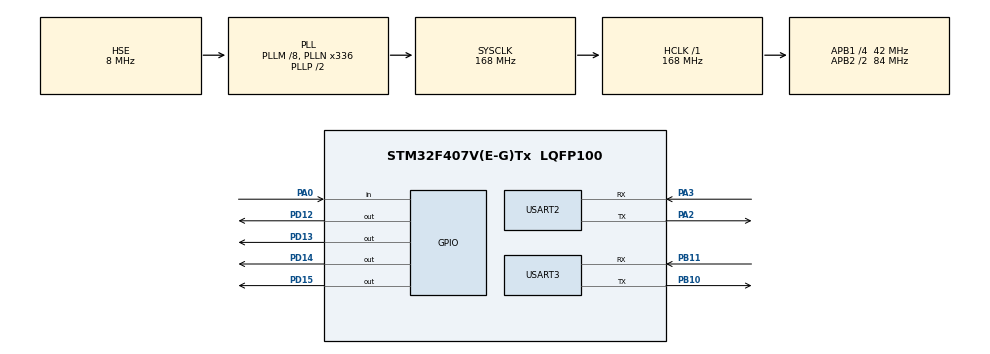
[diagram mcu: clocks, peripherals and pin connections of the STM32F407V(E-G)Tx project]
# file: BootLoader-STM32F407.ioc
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Mcu.Family=STM32F4
Mcu.Name=STM32F407V(E-G)Tx
Mcu.Package=LQFP100
NVIC.PriorityGroup=NVIC_PRIORITYGROUP_0
PA0-WKUP.Signal=GPIO_Input
PA13.Mode=Serial_Wire
PA13.Signal=SYS_JTMS-SWDIO
PA14.Mode=Serial_Wire
PA14.Signal=SYS_JTCK-SWCLK
PA2.Mode=Asynchronous
PA2.Signal=USART2_TX
PA3.Mode=Asynchronous
PA3.Signal=USART2_RX
PB10.Mode=Asynchronous
PB10.Signal=USART3_TX
PB11.Mode=Asynchronous
PB11.Signal=USART3_RX
PD12.Signal=GPIO_Output
PD13.Signal=GPIO_Output
PD14.Signal=GPIO_Output
PD15.Signal=GPIO_Output
PH0-OSC_IN.Mode=HSE-External-Oscillator
PH0-OSC_IN.Signal=RCC_OSC_IN
PH1-OSC_OUT.Mode=HSE-External-Oscillator
PH1-OSC_OUT.Signal=RCC_OSC_OUT
ProjectManager.HeapSize=0x200
ProjectManager.StackSize=0x400
ProjectManager.TargetToolchain=STM32CubeIDE
RCC.48MHZClocksFreq_Value=48000000
RCC.AHBFreq_Value=168000000
RCC.APB1CLKDivider=RCC_HCLK_DIV4
RCC.APB1Freq_Value=42000000
RCC.APB1TimFreq_Value=84000000
RCC.APB2CLKDivider=RCC_HCLK_DIV2
RCC.APB2Freq_Value=84000000
RCC.APB2TimFreq_Value=168000000
RCC.CortexFreq_Value=168000000
RCC.HCLKFreq_Value=168000000
RCC.HSE_VALUE=8000000
RCC.HSI_VALUE=16000000
RCC.PLLM=8
RCC.PLLN=336
RCC.PLLQ=7
RCC.PLLSourceVirtual=RCC_PLLSOURCE_HSE
RCC.SYSCLKFreq_VALUE=168000000
RCC.SYSCLKSource=RCC_SYSCLKSOURCE_PLLCLK
RCC.VCOOutputFreq_Value=336000000
USART2.VirtualMode=VM_ASYNC
USART3.VirtualMode=VM_ASYNC
VP_CRC_VS_CRC.Mode=CRC_Activate
board=STM32F407G-DISC1

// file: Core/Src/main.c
/* USER CODE BEGIN Header */
/**
 ******************************************************************************
 * @file           : main.c
 * @brief          : Main program body
 ******************************************************************************
 * @attention
 *
 * <h2><center>&copy; Copyright (c) 2020 STMicroelectronics.
 * All rights reserved.</center></h2>
 *
 * This software component is licensed by ST under Ultimate Liberty license
 * SLA0044, the "License"; You may not use this file except in compliance with
 * the License. You may obtain a copy of the License at:
 *                             www.st.com/SLA0044
 *
 ******************************************************************************
 */
/* USER CODE END Header */
#include "main.h"

CRC_HandleTypeDef hcrc;

UART_HandleTypeDef huart2;
UART_HandleTypeDef huart3;

void SystemClock_Config(void);
static void MX_GPIO_Init(void);
static void MX_CRC_Init(void);
static void MX_USART2_UART_Init(void);
static void MX_USART3_UART_Init(void);

/* USER CODE BEGIN 0 */
#define BL_DEBUG_MSG_EN
#define C_UART 	&huart3
#define D_UART	&huart2
static void printmsg(char *format,...);
uint32_t crcCalculation(uint32_t crcArray[], uint8_t lenOfArray);
uint8_t word_to_bytes(uint8_t *dest, uint32_t *src);
uint32_t bytes_to_word(uint32_t *dest, uint8_t *src);
uint8_t execute_mem_write(uint8_t *pBuffer, uint32_t mem_address, uint32_t len);
uint8_t execute_flash_erase(uint8_t sector_number , uint8_t number_of_sector);
uint32_t calculateAuthenticationKEY(uint32_t key);
uint8_t bootloader_verify_crc (uint8_t *pData, uint32_t len, uint32_t crc_host);
void userApplication(void);
void ResetItself(void);

volatile uint32_t pBuffer = (uint32_t)0x08040000;
#define BL_RX_LEN  10000
uint8_t dataArray[BL_RX_LEN];
uint32_t uartDataRx[3] = {0};
uint32_t uartDataTx[3] = {0};
uint32_t payloadLen = 0;
uint32_t key = 0xFFCCDDCC;
/* USER CODE END 0 */

int main(void)
{

	/* MCU Configuration--------------------------------------------------------*/

	/* Reset of all peripherals, Initializes the Flash interface and the Systick. */
	HAL_Init();

	/* Configure the system clock */
	SystemClock_Config();

	/* Initialize all configured peripherals */
	MX_GPIO_Init();
	MX_CRC_Init();
	MX_USART2_UART_Init();
	MX_USART3_UART_Init();
	/* USER CODE BEGIN 2 */

	memset(dataArray,0,10000);
	printmsg("Press User Button within 3 Seconds to boot into BootLoader Mode\r\n");

	printmsg("3\r\n");
	HAL_Delay(1000);
	printmsg("2\r\n");
	HAL_Delay(1000);
	printmsg("1\r\n");
	HAL_Delay(1000);
	if(HAL_GPIO_ReadPin(GPIOA, GPIO_PIN_0) == GPIO_PIN_SET)
	{
		printmsg("BootLoader Mode\r\n");
		uint32_t downloaderKey = calculateAuthenticationKEY(key);
		uartDataTx[0] = key;
		printmsg("Waiting for Tester Connection\r\n");
		uint32_t temp = 0;
		HAL_UART_Receive(&huart3, &temp, 4, HAL_MAX_DELAY);
		printmsg("Sending Authentication Key to Tester\r\n");
		HAL_Delay(500);
		HAL_UART_Transmit(&huart3, &uartDataTx[0], 4, HAL_MAX_DELAY);
		printmsg("Waiting for the Tester Key\r\n");
		HAL_UART_Receive(&huart3, &uartDataRx[0], 4, HAL_MAX_DELAY);
		if(uartDataRx[0] == downloaderKey)
		{
			printmsg("Tester is verified successfully\r\n");
			uartDataTx[1] = 0xFFFFFFFF;
			HAL_Delay(1000);
			HAL_UART_Transmit(&huart3, &uartDataTx[1], 4, HAL_MAX_DELAY);
			printmsg("Verification msg sent\r\n");
			HAL_UART_Receive(&huart3, &uartDataRx[1], 8, HAL_MAX_DELAY);
			uint32_t payloadCRC = uartDataRx[1];
			payloadLen = uartDataRx[2];

			printmsg("CRC value and Payload Length received\r\n");

			printmsg("Waiting for the payload\r\n");

			HAL_UART_Receive(&huart3, dataArray, payloadLen, HAL_MAX_DELAY);

			uint32_t crc_Value = HAL_CRC_Accumulate(&hcrc, &dataArray, payloadLen);

			if(!(bootloader_verify_crc(&dataArray, payloadLen, payloadCRC)))
			{

				printmsg("CRC is matched\r\n");

				printmsg("Data is being written\r\n");

				uint8_t statusWrite = 0;

				uint8_t statusErase = 0;

				statusErase = execute_flash_erase(6, 1);

				statusWrite = execute_mem_write(dataArray, pBuffer, payloadLen);
				if(statusWrite == HAL_OK)
				{
					printmsg("data is written successfully\r\n");
					HAL_GPIO_WritePin(GPIOG, GPIO_PIN_13, GPIO_PIN_SET);
					printmsg("Booting into User Application\r\n");
					HAL_Delay(500);
					ResetItself();
				}
				else
				{
					printmsg("Data writing is failed\r\n");
					HAL_GPIO_WritePin(GPIOG, GPIO_PIN_14, GPIO_PIN_SET);
					printmsg("Data is Erased, Please Go to Bootloader Mode and Download the firmware\r\n");
					HAL_Delay(500);
				}
			}
			else
			{
				printmsg("CRC is mis-matched\r\n");
				HAL_Delay(500);
				printmsg("Booting into User Application\r\n");
				userApplication();
			}

		}
		else
		{
			printmsg("Unknown Tester Found\r\n");
			HAL_Delay(500);
			printmsg("Booting into User Application\r\n");
			userApplication();

		}
	}
	else
	{
		printmsg("User Button is not Pressed\r\n");
		printmsg("Booting into User Application\r\n");
		HAL_Delay(500);
		userApplication();
	}
	/* USER CODE END 3 */
}

void SystemClock_Config(void)
{
	RCC_OscInitTypeDef RCC_OscInitStruct = {0};
	RCC_ClkInitTypeDef RCC_ClkInitStruct = {0};

	/** Configure the main internal regulator output voltage
	 */
	__HAL_RCC_PWR_CLK_ENABLE();
	__HAL_PWR_VOLTAGESCALING_CONFIG(PWR_REGULATOR_VOLTAGE_SCALE1);
	/** Initializes the RCC Oscillators according to the specified parameters
	 * in the RCC_OscInitTypeDef structure.
	 */
	RCC_OscInitStruct.OscillatorType = RCC_OSCILLATORTYPE_HSE;
	RCC_OscInitStruct.HSEState = RCC_HSE_ON;
	RCC_OscInitStruct.PLL.PLLState = RCC_PLL_ON;
	RCC_OscInitStruct.PLL.PLLSource = RCC_PLLSOURCE_HSE;
	RCC_OscInitStruct.PLL.PLLM = 8;
	RCC_OscInitStruct.PLL.PLLN = 336;
	RCC_OscInitStruct.PLL.PLLP = RCC_PLLP_DIV2;
	RCC_OscInitStruct.PLL.PLLQ = 7;
	if (HAL_RCC_OscConfig(&RCC_OscInitStruct) != HAL_OK)
	{
		Error_Handler();
	}
	/** Initializes the CPU, AHB and APB buses clocks
	 */
	RCC_ClkInitStruct.ClockType = RCC_CLOCKTYPE_HCLK|RCC_CLOCKTYPE_SYSCLK
			|RCC_CLOCKTYPE_PCLK1|RCC_CLOCKTYPE_PCLK2;
	RCC_ClkInitStruct.SYSCLKSource = RCC_SYSCLKSOURCE_PLLCLK;
	RCC_ClkInitStruct.AHBCLKDivider = RCC_SYSCLK_DIV1;
	RCC_ClkInitStruct.APB1CLKDivider = RCC_HCLK_DIV4;
	RCC_ClkInitStruct.APB2CLKDivider = RCC_HCLK_DIV2;

	if (HAL_RCC_ClockConfig(&RCC_ClkInitStruct, FLASH_LATENCY_5) != HAL_OK)
	{
		Error_Handler();
	}
}

static void MX_CRC_Init(void)
{

	hcrc.Instance = CRC;
	if (HAL_CRC_Init(&hcrc) != HAL_OK)
	{
		Error_Handler();
	}

}

static void MX_USART2_UART_Init(void)
{

	huart2.Instance = USART2;
	huart2.Init.BaudRate = 115200;
	huart2.Init.WordLength = UART_WORDLENGTH_8B;
	huart2.Init.StopBits = UART_STOPBITS_1;
	huart2.Init.Parity = UART_PARITY_NONE;
	huart2.Init.Mode = UART_MODE_TX_RX;
	huart2.Init.HwFlowCtl = UART_HWCONTROL_NONE;
	huart2.Init.OverSampling = UART_OVERSAMPLING_16;
	if (HAL_UART_Init(&huart2) != HAL_OK)
	{
		Error_Handler();
	}

}

static void MX_USART3_UART_Init(void)
{

	huart3.Instance = USART3;
	huart3.Init.BaudRate = 115200;
	huart3.Init.WordLength = UART_WORDLENGTH_8B;
	huart3.Init.StopBits = UART_STOPBITS_1;
	huart3.Init.Parity = UART_PARITY_NONE;
	huart3.Init.Mode = UART_MODE_TX_RX;
	huart3.Init.HwFlowCtl = UART_HWCONTROL_NONE;
	huart3.Init.OverSampling = UART_OVERSAMPLING_16;
	if (HAL_UART_Init(&huart3) != HAL_OK)
	{
		Error_Handler();
	}

}

static void MX_GPIO_Init(void)
{
	GPIO_InitTypeDef GPIO_InitStruct = {0};

	/* GPIO Ports Clock Enable */
	__HAL_RCC_GPIOH_CLK_ENABLE();
	__HAL_RCC_GPIOA_CLK_ENABLE();
	__HAL_RCC_GPIOB_CLK_ENABLE();
	__HAL_RCC_GPIOD_CLK_ENABLE();

	/*Configure GPIO pin Output Level */
	HAL_GPIO_WritePin(GPIOD, GPIO_PIN_12|GPIO_PIN_13|GPIO_PIN_14|GPIO_PIN_15, GPIO_PIN_RESET);

	/*Configure GPIO pin : PA0 */
	GPIO_InitStruct.Pin = GPIO_PIN_0;
	GPIO_InitStruct.Mode = GPIO_MODE_INPUT;
	GPIO_InitStruct.Pull = GPIO_NOPULL;
	HAL_GPIO_Init(GPIOA, &GPIO_InitStruct);

	/*Configure GPIO pins : PD12 PD13 PD14 PD15 */
	GPIO_InitStruct.Pin = GPIO_PIN_12|GPIO_PIN_13|GPIO_PIN_14|GPIO_PIN_15;
	GPIO_InitStruct.Mode = GPIO_MODE_OUTPUT_PP;
	GPIO_InitStruct.Pull = GPIO_NOPULL;
	GPIO_InitStruct.Speed = GPIO_SPEED_FREQ_LOW;
	HAL_GPIO_Init(GPIOD, &GPIO_InitStruct);

}

/* USER CODE BEGIN 4 */
/* prints formatted string to console over UART */
void printmsg(char *format,...)
{
#ifdef BL_DEBUG_MSG_EN
	char str[80];
	/*Extract the the argument list using VA apis */
	va_list args;
	va_start(args, format);
	vsprintf(str, format,args);
	HAL_UART_Transmit(D_UART,(uint8_t *)str, strlen(str),HAL_MAX_DELAY);
	va_end(args);
#endif
}
/* CRC Calculation using Software */
uint32_t crcCalculation(uint32_t crcArray[], uint8_t lenOfArray)
{
	uint32_t crc = 0xFF;
	uint8_t bindex = 0;
	uint8_t lenOfData = 0;
	for(;lenOfData < lenOfArray; lenOfData++)
	{
		crc = crc ^ crcArray[lenOfData];
		for(;bindex < (sizeof(crcArray[lenOfData]) * 8); bindex++)
		{
			if(crc & 0x80000000)
			{
				crc = (crc << 1) ^ 0x04C11DB7;
			}
			else
			{
				crc = crc << 1;
			}
		}
		bindex = 0;
	}
	return crc;
}
uint8_t word_to_bytes(uint8_t *dest, uint32_t *src)
{
	memcpy(&dest, src, sizeof(dest));

}
uint32_t bytes_to_word(uint32_t *dest, uint8_t *src)
{
	memcpy(dest, &src, sizeof(dest));
}
uint8_t execute_mem_write(uint8_t *pBuffer, uint32_t mem_address, uint32_t len)
{
	uint8_t status = HAL_OK;

	//We have to unlock flash module to get control of registers
	HAL_FLASH_Unlock();

	for(uint32_t i = 0 ; i <len ; i++)
	{
		//Here we program the flash byte by byte
		status = HAL_FLASH_Program(FLASH_TYPEPROGRAM_BYTE,mem_address+i,pBuffer[i] );
	}
	HAL_FLASH_Lock();

	return status;
}

uint8_t execute_flash_erase(uint8_t sector_number , uint8_t number_of_sector)
{
	//we have totally 8 sectors in STM32F446RE mcu .. sector[0 to 7]
	//number_of_sector has to be in the range of 0 to 7
	// if sector_number = 0xff , that means mass erase !
	//Code needs to modified if your MCU supports more flash sectors
	FLASH_EraseInitTypeDef flashErase_handle;
	uint32_t sectorError;
	HAL_StatusTypeDef status;

	if( number_of_sector > 12 )
		return INVALID_SECTOR;

	if( (sector_number == 0xff ) || (sector_number <= 11) )
	{
		if(sector_number == (uint8_t) 0xff)
		{
			flashErase_handle.TypeErase = FLASH_TYPEERASE_MASSERASE;
		}else
		{
			/*Here we are just calculating how many sectors needs to erased */
			uint8_t remanining_sector = 12 - sector_number;
			if( number_of_sector > remanining_sector)
			{
				number_of_sector = remanining_sector;
			}
			flashErase_handle.TypeErase = FLASH_TYPEERASE_SECTORS;
			flashErase_handle.Sector = sector_number; // this is the initial sector
			flashErase_handle.NbSectors = number_of_sector;
		}
		flashErase_handle.Banks = FLASH_BANK_1;

		/*Get access to touch the flash registers */
		HAL_FLASH_Unlock();
		flashErase_handle.VoltageRange = FLASH_VOLTAGE_RANGE_3;  // our mcu will work on this voltage range
		status = (uint8_t) HAL_FLASHEx_Erase(&flashErase_handle, &sectorError);
		HAL_FLASH_Lock();

		return status;
	}

	return INVALID_SECTOR;
}
uint32_t calculateAuthenticationKEY(uint32_t key)
{
	uint32_t returnValue = key ^ 0xAABBCCDD;
	return returnValue;

}
uint8_t bootloader_verify_crc (uint8_t *pData, uint32_t len, uint32_t crc_host)
{
	uint32_t uwCRCValue = 0xFF;

	for (uint32_t i=0 ; i < len ; i++)
	{
		uint32_t i_data = pData[i];
		uwCRCValue = HAL_CRC_Accumulate(&hcrc, &i_data, 1);
	}

	/* Reset CRC Calculation Unit */
	__HAL_CRC_DR_RESET(&hcrc);

	if( uwCRCValue == crc_host)
	{
		return VERIFY_CRC_SUCCESS;
	}

	return VERIFY_CRC_FAIL;
}
void userApplication(void)
{
	void (*app_reset_handler)(void);

	//printmsg("BL_DEBUG_MSG:bootloader_jump_to_user_app\n");

	// 1. configure the MSP by reading the value from the base address of the sector 2
	uint32_t msp_value = *(volatile uint32_t *)FLASH_SECTOR6_BASE_ADDRESS;
	//printmsg("BL_DEBUG_MSG:MSP value : %#x\n",msp_value);

	//This function comes from CMSIS.
	__set_MSP(msp_value);

	//SCB->VTOR = FLASH_SECTOR1_BASE_ADDRESS;

	/* 2. Now fetch the reset handler address of the user application
	 * from the location FLASH_SECTOR2_BASE_ADDRESS+4
	 */
	uint32_t resethandler_address = *(volatile uint32_t *) (FLASH_SECTOR6_BASE_ADDRESS + 4);

	app_reset_handler = (void*) resethandler_address;

	//printmsg("BL_DEBUG_MSG: app reset handler addr : %#x\n",app_reset_handler);

	//3. jump to reset handler of the user application
	app_reset_handler();

}

void ResetItself(void)
{
	void (*app_reset_handler)(void);

	//printmsg("BL_DEBUG_MSG:bootloader_jump_to_user_app\n");

	// 1. configure the MSP by reading the value from the base address of the sector 2
	uint32_t msp_value = *(volatile uint32_t *)FLASH_SECTOR0_BASE_ADDRESS;
	//printmsg("BL_DEBUG_MSG:MSP value : %#x\n",msp_value);

	//This function comes from CMSIS.
	__set_MSP(msp_value);

	//SCB->VTOR = FLASH_SECTOR1_BASE_ADDRESS;

	/* 2. Now fetch the reset handler address of the user application
	 * from the location FLASH_SECTOR2_BASE_ADDRESS+4
	 */
	uint32_t resethandler_address = *(volatile uint32_t *) (FLASH_SECTOR0_BASE_ADDRESS + 4);

	app_reset_handler = (void*) resethandler_address;

	//printmsg("BL_DEBUG_MSG: app reset handler addr : %#x\n",app_reset_handler);

	//3. jump to reset handler of the user application
	app_reset_handler();

}
/* USER CODE END 4 */
/* USER CODE END 4 */

void Error_Handler(void)
{
}

/************************ (C) COPYRIGHT STMicroelectronics *****END OF FILE****/
